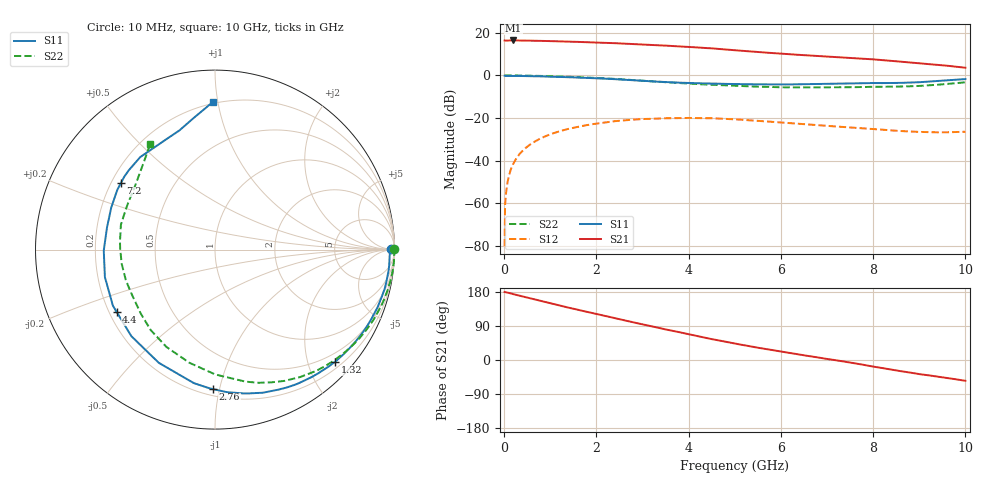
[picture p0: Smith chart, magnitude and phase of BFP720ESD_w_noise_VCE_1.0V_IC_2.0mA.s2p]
! Infineon Technologies  Discrete & RF Semiconductors
! BFP720ESD
! VCE =  1.0 V,  IC =  2.0 mA
! Common Emitter S-Parameters:  Jan 2016
# GHz  S  MA  R  50
!  f  S11  S21  S12  S22
! GHz  MAG  ANG  MAG  ANG  MAG  ANG  MAG  ANG
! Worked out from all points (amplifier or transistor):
!   233 points, 10 MHz to 10 GHz, reference 50 ohm
!   highest |S21| = 16.4 dB at 200 MHz (marker M1)
!   |S21| within 3 dB of that: start of sweep to 4.007 GHz
!   unconditionally stable (mu >= 1): 7.178 GHz to 9.955 GHz
!   at 200 MHz: K = 0.02, MSG = 28.8 dB, |S12| = -41.3 dB
!   at 1.74 GHz: K = 0.17, MSG = 19.5 dB, |S12| = -23.5 dB
!   at 10 GHz: K = 0.95, MSG = 15.0 dB, |S12| = -26.4 dB
!   lowest NFmin = 0.53 dB at 450 MHz
!   S11 on the Smith chart (normalised r, x): 10 MHz: open; 1.32 GHz: 0.32, -2.50; 2.76 GHz: 0.24, -0.96; 4.4 GHz: 0.23, -0.28; 7.2 GHz: 0.24, +0.30; 10 GHz: 0.19, +0.97
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0.01  0.982 0.1  6.583 179.4  0.0001 -132.2  0.9988 0.3
0.015  0.9796 -0.3  6.554 179.4  0.0004 84.9  0.9988 -0.0
0.02  0.9772 -0.7  6.525 179.4  0.0009 81.1  0.9988 -0.4
0.04  0.975 -1.3  6.532 178.7  0.0017 82.7  0.9988 -0.9
0.09  0.9735 -3.0  6.574 177.3  0.0039 87.2  0.9991 -2.3
0.2  0.9745 -6.5  6.595 173.9  0.0086 85.1  0.9979 -5.2
0.42  0.9692 -13.6  6.56 167.1  0.018 79.1  0.9917 -10.9
0.7  0.9552 -22.7  6.495 158.7  0.0297 71.9  0.9791 -18.2
1.32  0.9151 -43.1  6.234 140.4  0.0534 56.0  0.9359 -34.2
1.68  0.8864 -54.7  6.058 130.2  0.0653 47.2  0.9049 -43.3
2.2  0.8409 -71.5  5.794 116.0  0.0797 35.2  0.8537 -56.3
2.76  0.7777 -90.7  5.484 100.5  0.0916 22.1  0.7846 -70.9
3.4  0.7085 -112.8  5.043 83.5  0.0982 8.0  0.7048 -87.1
4  0.6707 -134.0  4.675 68.0  0.101 -3.9  0.6466 -102.7
4.4  0.6487 -147.7  4.365 57.8  0.0995 -11.8  0.611 -113.7
5.1  0.627 -168.6  3.826 41.2  0.0923 -23.7  0.5669 -130.6
6  0.6142 168.5  3.245 22.2  0.079 -34.7  0.5282 -150.1
6.8  0.6303 152.3  2.836 6.8  0.0682 -39.6  0.5235 -167.1
7.2  0.6418 144.9  2.673 -0.8  0.0636 -40.9  0.5254 -175.8
8.4  0.6632 119.5  2.187 -25.5  0.0515 -41.4  0.545 155.9
9  0.6931 106.6  1.929 -37.2  0.0475 -37.1  0.5673 142.1
10  0.8216 90.9  1.515 -54.9  0.0479 -29.2  0.6906 121.5
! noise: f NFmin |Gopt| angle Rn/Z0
0.45  0.53  0.7  6  0.25
0.9  0.56  0.68  14  0.24
1.9  0.65  0.62  37  0.22
2.4  0.73  0.59  45  0.21
5.5  1.15  0.34  129  0.11
10  2.25  0.63  -104  0.6
